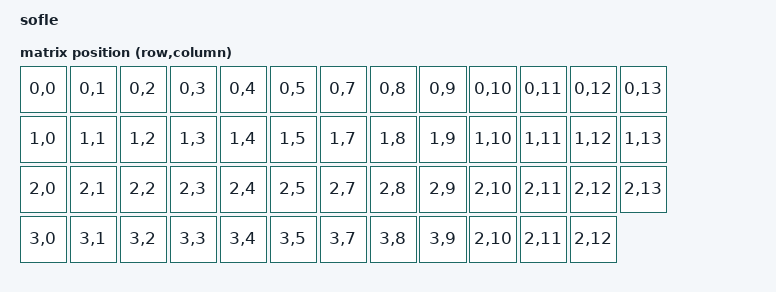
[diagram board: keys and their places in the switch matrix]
/*
*
* Copyright (c) 2021 Darryl deHaan
* SPDX-License-Identifier: MIT
*
*/

/dts-v1/;
#include <nordic/nrf52840_qiaa.dtsi>
#include <dt-bindings/led/led.h>
#include <dt-bindings/zmk/matrix_transform.h>

/ {
    model = "sofle";
    compatible = "sofle";

    chosen {
        zephyr,code-partition = &code_partition;
        zephyr,sram = &sram0;
        zephyr,flash = &flash0;
        zmk,kscan = &kscan0;
        zephyr,display = &oled;
        zephyr,console = &cdc_acm_uart;
        zmk,underglow = &led_strip;
        zmk,matrix-transform = &default_transform;
    };

    default_transform: keymap_transform_0 {
        compatible = "zmk,matrix-transform";
        columns = <14>;
        rows = <4>;

            // | SW1  | SW2  | SW3  | SW4  | SW5  | SW6  |   | SW6  | SW5  | SW4  | SW3  | SW2  | SW1  |
            // | SW7  | SW8  | SW9  | SW10 | SW11 | SW12 |   | SW12 | SW11 | SW10 | SW9  | SW8  | SW7  |
            // | SW13 | SW14 | SW15 | SW16 | SW17 | SW18 |   | SW18 | SW17 | SW16 | SW15 | SW14 | SW13 |
            //                      | SW19 | SW20 | SW21 |   | SW21 | SW20 | SW19 |
                    map = <
            RC(0,0) RC(0,1) RC(0,2) RC(0,3) RC(0,4) RC(0,5)  RC(0,7) RC(0,8) RC(0,9) RC(0,10) RC(0,11) RC(0,12) RC(0,13)
            RC(1,0) RC(1,1) RC(1,2) RC(1,3) RC(1,4) RC(1,5)  RC(1,7) RC(1,8) RC(1,9) RC(1,10) RC(1,11) RC(1,12) RC(1,13)
            RC(2,0) RC(2,1) RC(2,2) RC(2,3) RC(2,4) RC(2,5)  RC(2,7) RC(2,8) RC(2,9) RC(2,10) RC(2,11) RC(2,12) RC(2,13)
            RC(3,0) RC(3,1) RC(3,2) RC(3,3) RC(3,4) RC(3,5)  RC(3,7) RC(3,8) RC(3,9) RC(2,10) RC(2,11) RC(2,12)
        >;
    };
};

&adc {
    status = "okay";
};

&gpiote {
    status = "okay";
};

&gpio0 {
    status = "okay";
};

&gpio1 {
    status = "okay";
};

&usbd {
    status = "okay";
    cdc_acm_uart: cdc_acm_uart {
        compatible = "zephyr,cdc-acm-uart";
    };
};

&flash0 {
    /*
     * For more information, see:
     * http://docs.zephyrproject.org/latest/devices/dts/flash_partitions.html
     */
    partitions {
        compatible = "fixed-partitions";
        #address-cells = <1>;
        #size-cells = <1>;

        sd_partition: partition@0 {
            reg = <0x00000000 0x00026000>;
        };
        code_partition: partition@26000 {
            reg = <0x00026000 0x000c6000>;
        };

        /*
         * The flash starting at 0x000ec000 and ending at
         * 0x000f3fff is reserved for use by the application.
         */

        /*
         * Storage partition will be used by FCB/LittleFS/NVS
         * if enabled.
         */
        storage_partition: partition@ec000 {
            reg = <0x000ec000 0x00008000>;
        };

        boot_partition: partition@f4000 {
            reg = <0x000f4000 0x0000c000>;
        };
    };
};

&pinctrl {
    i2c0_default: i2c0_default {
        group1 {
            psels = <NRF_PSEL(TWIM_SDA, 0, 17)>,
                <NRF_PSEL(TWIM_SCL, 0, 20)>;
        };
    };

    i2c0_sleep: i2c0_sleep {
        group1 {
            psels = <NRF_PSEL(TWIM_SDA, 0, 17)>,
                <NRF_PSEL(TWIM_SCL, 0, 20)>;
            low-power-enable;
        };
    };

    spi0_default: spi0_default {
        group1 {
            psels = <NRF_PSEL(SPIM_SCK, 0, 20)>,
                <NRF_PSEL(SPIM_MOSI, 0, 17)>,
                <NRF_PSEL(SPIM_MISO, 0, 25)>;
        };
    };
    spi0_sleep: spi0_sleep {
        group1 {
            psels = <NRF_PSEL(SPIM_SCK, 0, 20)>,
                <NRF_PSEL(SPIM_MOSI, 0, 17)>,
                <NRF_PSEL(SPIM_MISO, 0, 25)>;
            low-power-enable;
        };
    };
    spi3_default: spi3_default {
        group1 {
            psels = <NRF_PSEL(SPIM_MOSI, 1, 12)>; // WS2812_VEXT_DATA
        };
    };

    spi3_sleep: spi3_sleep {
        group1 {
            psels = <NRF_PSEL(SPIM_MOSI, 1, 12)>;
            low-power-enable;
        };
    };
};

&i2c0 {
	status = "disabled";

	compatible = "nordic,nrf-twi";
	pinctrl-0 = <&i2c0_default>;
	pinctrl-1 = <&i2c0_sleep>;
	pinctrl-names = "default", "sleep";
	oled: ssd1306@3c {
		compatible = "solomon,ssd1306fb";
		reg = <0x3c>;
		label = "DISPLAY";
		width = <128>;
		height = <32>;
		segment-offset = <0>;
		page-offset = <0>;
		display-offset = <0>;
		multiplex-ratio = <31>;
		segment-remap;
		com-invdir;
		com-sequential;
		prechargep = <0x22>;
	};
};

nice_view_spi: &spi0 {
    compatible = "nordic,nrf-spim";
    pinctrl-0 = <&spi0_default>;
    pinctrl-1 = <&spi0_sleep>;
    pinctrl-names = "default", "sleep";
    cs-gpios = <&gpio0 6 GPIO_ACTIVE_HIGH>;
};

&spi3 {
    compatible = "nordic,nrf-spim";
    status = "okay";

    pinctrl-0 = <&spi3_default>;
    pinctrl-1 = <&spi3_sleep>;
    pinctrl-names = "default", "sleep";

    led_strip: ws2812@0 {
        compatible = "worldsemi,ws2812-spi";

        /* SPI */
        reg = <0>; /* ignored, but necessary for SPI bindings */
        spi-max-frequency = <4000000>;

        /* WS2812 */
        chain-length = <7>; /* 6 keys have underglow at the moment */
        spi-one-frame = <0x70>;
        spi-zero-frame = <0x40>;

        color-mapping = <LED_COLOR_ID_GREEN LED_COLOR_ID_RED LED_COLOR_ID_BLUE>;
    };
};
